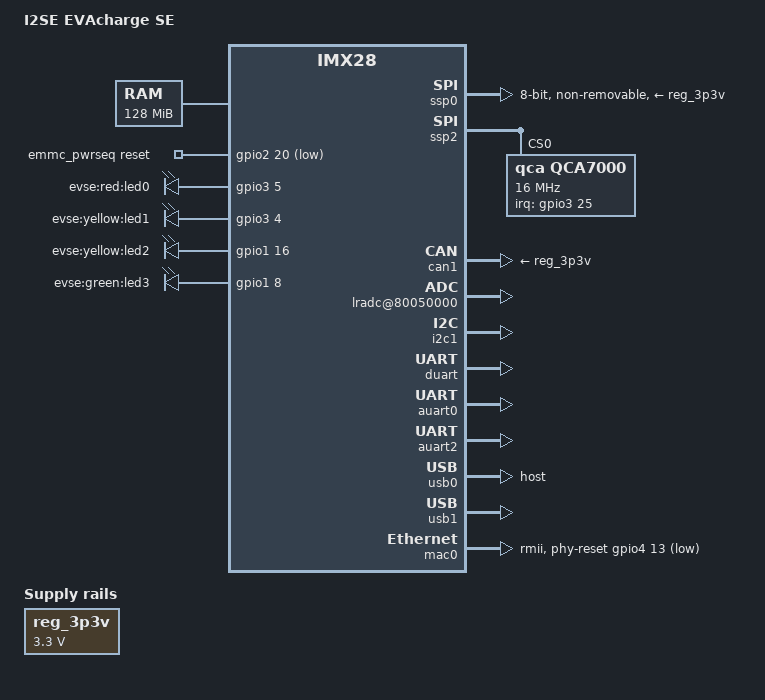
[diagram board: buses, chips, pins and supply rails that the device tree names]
// SPDX-License-Identifier: GPL-2.0-or-later
//
// Copyright (C) 2017 I2SE GmbH <info@i2se.com>

/dts-v1/;
#include <dt-bindings/interrupt-controller/irq.h>
#include "imx28.dtsi"

/ {
	model = "I2SE EVAcharge SE";
	compatible = "i2se,imx28-ievachargese", "fsl,imx28";

	aliases {
		ethernet1 = &qca7000;
	};

	memory@40000000 {
		device_type = "memory";
		reg = <0x40000000 0x08000000>;
	};

	apb@80000000 {
		apbh@80000000 {
			ssp0: spi@80010000 {
				compatible = "fsl,imx28-mmc";
				pinctrl-names = "default";
				pinctrl-0 = <&mmc0_8bit_pins_a
					&mmc0_cd_cfg &mmc0_sck_cfg>;
				bus-width = <8>;
				non-removable;
				no-sdio;
				vmmc-supply = <&reg_3p3v>;
				mmc-pwrseq = <&emmc_pwrseq>;
				status = "okay";
			};

			ssp2: spi@80014000 {
				#address-cells = <1>;
				#size-cells = <0>;
				compatible = "fsl,imx28-spi";
				pinctrl-names = "default";
				pinctrl-0 = <&spi2_pins_a>;
				status = "okay";

				qca7000: ethernet@0 {
					reg = <0x0>;
					compatible = "qca,qca7000";
					interrupt-parent = <&gpio3>;
					interrupts = <25 IRQ_TYPE_EDGE_RISING>;
					spi-cpha;
					spi-cpol;
					spi-max-frequency = <16000000>;
				};

			};

			pinctrl@80018000 {
				pinctrl-names = "default";
				pinctrl-0 = <&hog_pins_a>;

				hog_pins_a: hog {
					fsl,pinmux-ids = <
						/* unused ssp3 to shift register */
						MX28_PAD_SSP3_SCK__GPIO_2_24
						MX28_PAD_SSP3_MOSI__GPIO_2_25
						MX28_PAD_SSP3_MISO__GPIO_2_26
						MX28_PAD_SSP3_SS0__GPIO_2_27
						/* unused external header pins */
						MX28_PAD_AUART3_RX__GPIO_3_12
						MX28_PAD_AUART3_TX__GPIO_3_13
						MX28_PAD_SSP1_SCK__GPIO_2_12
						MX28_PAD_SSP1_CMD__GPIO_2_13
						MX28_PAD_SSP1_DATA0__GPIO_2_14
						MX28_PAD_SSP1_DATA3__GPIO_2_15
					>;
					fsl,drive-strength = <MXS_DRIVE_4mA>;
					fsl,voltage = <MXS_VOLTAGE_HIGH>;
					fsl,pull-up = <MXS_PULL_DISABLE>;
				};

				mac0_phy_reset_pin: mac0-phy-reset@0 {
					reg = <0>;
					fsl,pinmux-ids = <
						MX28_PAD_ENET0_RX_CLK__GPIO_4_13  /* PHY Reset */
					>;
					fsl,drive-strength = <MXS_DRIVE_4mA>;
					fsl,voltage = <MXS_VOLTAGE_HIGH>;
					fsl,pull-up = <MXS_PULL_DISABLE>;
				};

				mac0_phy_int_pin: mac0-phy-int@0 {
					reg = <0>;
					fsl,pinmux-ids = <
						MX28_PAD_ENET0_TX_CLK__GPIO_4_5   /* PHY Interrupt */
					>;
					fsl,drive-strength = <MXS_DRIVE_4mA>;
					fsl,voltage = <MXS_VOLTAGE_HIGH>;
					fsl,pull-up = <MXS_PULL_DISABLE>;
				};

				qca7k: ethernet@0 {
					reg = <0>;
					fsl,pinmux-ids = <
						MX28_PAD_I2C0_SDA__GPIO_3_25 /* SPI_INT */
						MX28_PAD_LCD_D13__GPIO_1_13  /* QCA7K_RESET */
						MX28_PAD_LCD_D14__GPIO_1_14  /* GPIO_0 */
						MX28_PAD_LCD_D15__GPIO_1_15  /* GPIO_1 */
						MX28_PAD_LCD_D18__GPIO_1_18  /* GPIO_2 */
						MX28_PAD_LCD_D21__GPIO_1_21  /* GPIO_3 */
					>;
					fsl,drive-strength = <MXS_DRIVE_4mA>;
					fsl,voltage = <MXS_VOLTAGE_HIGH>;
					fsl,pull-up = <MXS_PULL_DISABLE>;
				};

				motor: motor {
					fsl,pinmux-ids = <
						MX28_PAD_SAIF0_LRCLK__GPIO_3_21 /* MOTOR1_PHASE */
						MX28_PAD_SAIF0_BITCLK__GPIO_3_22 /* MOTOR1_ENABLE */
						MX28_PAD_SAIF0_SDATA0__GPIO_3_23 /* MOTOR2_PHASE */
						MX28_PAD_SAIF1_SDATA0__GPIO_3_26 /* MOTOR2_ENABLE */
						MX28_PAD_SPDIF__GPIO_3_27 /* MOTOR_FAULT */
					>;
					fsl,drive-strength = <MXS_DRIVE_4mA>;
					fsl,voltage = <MXS_VOLTAGE_HIGH>;
					fsl,pull-up = <MXS_PULL_DISABLE>;
				};

				daugther: daugther {
					fsl,pinmux-ids = <
						MX28_PAD_LCD_D07__GPIO_1_7 /* DAUGHTER_GPIO_0 */
						MX28_PAD_LCD_D10__GPIO_1_10 /* DAUGHTER_GPIO_1 */
						MX28_PAD_LCD_WR_RWN__GPIO_1_25 /* DAUGHTER_GPIO_2 */
						MX28_PAD_LCD_VSYNC__GPIO_1_28 /* DAUGHTER_GPIO_3 */
						MX28_PAD_LCD_HSYNC__GPIO_1_29 /* DAUGHTER_GPIO_4 */
						MX28_PAD_LCD_DOTCLK__GPIO_1_30 /* DAUGHTER_GPIO_5 */
					>;
					fsl,drive-strength = <MXS_DRIVE_4mA>;
					fsl,voltage = <MXS_VOLTAGE_HIGH>;
					fsl,pull-up = <MXS_PULL_DISABLE>;
				};

				control_pilot: control_pilot {
					fsl,pinmux-ids = <
						MX28_PAD_AUART1_CTS__GPIO_3_6 /* CP_EDGE */
						MX28_PAD_AUART1_RTS__GPIO_3_7 /* CP_EDGE */
						MX28_PAD_PWM2__GPIO_3_18 /* CP_HIGH */
						MX28_PAD_PWM3__GPIO_3_28 /* CP_LOW */
					>;
					fsl,drive-strength = <MXS_DRIVE_4mA>;
					fsl,voltage = <MXS_VOLTAGE_HIGH>;
					fsl,pull-up = <MXS_PULL_DISABLE>;
				};

				proximity_pilot: proximity_pilot {
					fsl,pinmux-ids = <
						MX28_PAD_LCD_D12__GPIO_1_12 /* PP_PULLUP */
					>;
					fsl,drive-strength = <MXS_DRIVE_4mA>;
					fsl,voltage = <MXS_VOLTAGE_HIGH>;
					fsl,pull-up = <MXS_PULL_DISABLE>;
				};

				led_pins: led_pins {
					fsl,pinmux-ids = <
						MX28_PAD_LCD_D16__GPIO_1_16  /* LED_2 */
						MX28_PAD_LCD_D08__GPIO_1_8   /* LED_3 */
						MX28_PAD_AUART1_RX__GPIO_3_4 /* LED_1 */
						MX28_PAD_AUART1_TX__GPIO_3_5 /* LED_0 */
					>;
					fsl,drive-strength = <MXS_DRIVE_4mA>;
					fsl,voltage = <MXS_VOLTAGE_HIGH>;
					fsl,pull-up = <MXS_PULL_DISABLE>;
				};

				emmc_reset: emmc_reset {
					fsl,pinmux-ids = <
						/* pullup */
						MX28_PAD_SSP2_SS1__GPIO_2_20 /* EMMC_RESET */
					>;
					fsl,drive-strength = <MXS_DRIVE_4mA>;
					fsl,voltage = <MXS_VOLTAGE_HIGH>;
					fsl,pull-up = <MXS_PULL_DISABLE>;
				};
			};

			can1: can@80034000 {
				pinctrl-names = "default";
				pinctrl-0 = <&can1_pins_b>;
				xceiver-supply = <&reg_3p3v>;
				status = "okay";
			};
		};

		apbx@80040000 {
			lradc@80050000 {
				status = "okay";
			};

			i2c1: i2c@8005a000 {
				pinctrl-names = "default";
				pinctrl-0 = <&i2c1_pins_b>;
				status = "okay";
			};

			duart: serial@80074000 {
				pinctrl-names = "default";
				pinctrl-0 = <&duart_pins_a>;
				status = "okay";
			};

			auart0: serial@8006a000 {
				pinctrl-names = "default";
				pinctrl-0 = <&auart0_2pins_a>;
				status = "okay";
			};

			auart2: serial@8006e000 {
				pinctrl-names = "default";
				pinctrl-0 = <&auart2_2pins_b>;
				status = "okay";
			};

			usbphy0: usbphy@8007c000 {
				status = "okay";
			};

			usbphy1: usbphy@8007e000 {
				status = "okay";
			};
		};
	};

	ahb@80080000 {
		usb0: usb@80080000 {
			status = "okay";
			dr_mode = "host";
		};

		usb1: usb@80090000 {
			status = "okay";
		};

		mac0: ethernet@800f0000 {
			phy-mode = "rmii";
			pinctrl-names = "default";
			pinctrl-0 = <&mac0_pins_a>, <&mac0_phy_reset_pin>;
			phy-reset-gpios = <&gpio4 13 GPIO_ACTIVE_LOW>;
			phy-reset-duration = <25>;
			status = "okay";
		};
	};

	emmc_pwrseq: emmc-pwrseq {
		compatible = "mmc-pwrseq-emmc";
		pinctrl-0 = <&emmc_reset>;
		pinctrl-names = "default";
		reset-gpios = <&gpio2 20 GPIO_ACTIVE_LOW>;
	};

	reg_3p3v: regulator-3p3v {
		compatible = "regulator-fixed";
		regulator-name = "3P3V";
		regulator-min-microvolt = <3300000>;
		regulator-max-microvolt = <3300000>;
		regulator-always-on;
	};

	leds {
		compatible = "gpio-leds";
		pinctrl-names = "default";
		pinctrl-0 = <&led_pins>;

		led0 {			/* Heartbeat */
			label = "evse:red:led0";
			gpios = <&gpio3 5 GPIO_ACTIVE_HIGH>;
			linux,default-trigger = "heartbeat";
		};

		led1 {			/* unassigned */
			label = "evse:yellow:led1";
			gpios = <&gpio3 4 GPIO_ACTIVE_HIGH>;
			linux,default-trigger = "none";
		};

		led2 {			/* CAN traffic */
			label = "evse:yellow:led2";
			gpios = <&gpio1 16 GPIO_ACTIVE_HIGH>;
			linux,default-trigger = "can0-rx";
		};

		led3 {			/* Boot process */
			label = "evse:green:led3";
			gpios = <&gpio1 8 GPIO_ACTIVE_HIGH>;
			linux,default-trigger = "timer";
		};

	};
};
